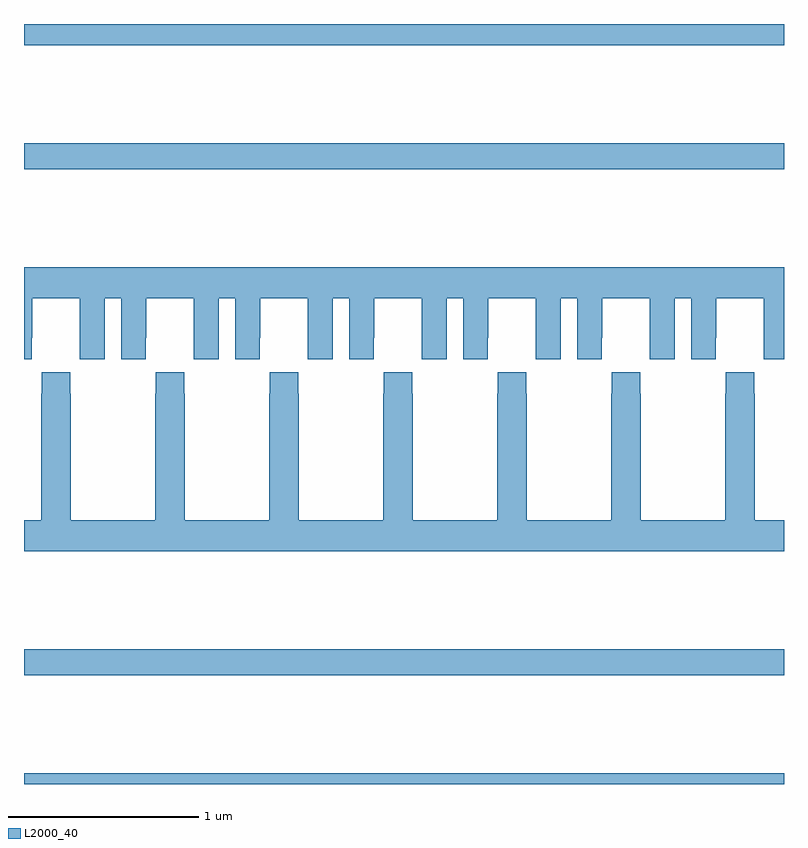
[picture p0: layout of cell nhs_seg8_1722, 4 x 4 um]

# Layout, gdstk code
import gdstk
lib = gdstk.Library(unit=1e-6, precision=1e-09)
def R(c, l, rs):  # rectangles x0, y0, x1, y1
    for r in rs: c.add(gdstk.rectangle(r[:2], r[2:], *l))
def P(c, l, *ps):  # polygons
    for p in ps: c.add(gdstk.Polygon(p, *l))
L2000_40 = (2000, 40)

nhs_seg8_1722 = lib.new_cell('nhs_seg8_1722')
R(nhs_seg8_1722, L2000_40, [(219,1157.9,223,1157.956), (219,1158.472,223,1158.608), (219,1161.136,223,1161.272), (219,1161.788,223,1161.9)])
P(nhs_seg8_1722, L2000_40, [(219,1160.136),(219.042,1160.136),(219.042,1160.248),(219.043,1160.248),(219.043,1160.456),(219.293,1160.456),(219.293,1160.248),(219.294,1160.248),(219.294,1160.136),(219.424,1160.136),(219.424,1160.456),(219.512,1160.456),(219.512,1160.136),(219.642,1160.136),(219.642,1160.248),(219.643,1160.248),(219.643,1160.456),(219.893,1160.456),(219.893,1160.248),(219.894,1160.248),(219.894,1160.136),(220.024,1160.136),(220.024,1160.456),(220.112,1160.456),(220.112,1160.136),(220.242,1160.136),(220.242,1160.248),(220.243,1160.248),(220.243,1160.456),(220.493,1160.456),(220.493,1160.248),(220.494,1160.248),(220.494,1160.136),(220.624,1160.136),(220.624,1160.456),(220.712,1160.456),(220.712,1160.136),(220.842,1160.136),(220.842,1160.248),(220.843,1160.248),(220.843,1160.456),(221.093,1160.456),(221.093,1160.248),(221.094,1160.248),(221.094,1160.136),(221.224,1160.136),(221.224,1160.456),(221.312,1160.456),(221.312,1160.136),(221.442,1160.136),(221.442,1160.248),(221.443,1160.248),(221.443,1160.456),(221.693,1160.456),(221.693,1160.248),(221.694,1160.248),(221.694,1160.136),(221.824,1160.136),(221.824,1160.456),(221.912,1160.456),(221.912,1160.136),(222.042,1160.136),(222.042,1160.248),(222.043,1160.248),(222.043,1160.456),(222.293,1160.456),(222.293,1160.248),(222.294,1160.248),(222.294,1160.136),(222.424,1160.136),(222.424,1160.456),(222.512,1160.456),(222.512,1160.136),(222.642,1160.136),(222.642,1160.248),(222.643,1160.248),(222.643,1160.456),(222.893,1160.456),(222.893,1160.248),(222.894,1160.248),(222.894,1160.136),(223,1160.136),(223,1160.62),(219,1160.62)],
  [(223,1159.288),(222.846,1159.288),(222.846,1159.955),(222.843,1159.955),(222.843,1160.068),(222.693,1160.068),(222.693,1159.955),(222.691,1159.955),(222.691,1159.288),(222.246,1159.288),(222.246,1159.955),(222.243,1159.955),(222.243,1160.068),(222.093,1160.068),(222.093,1159.955),(222.091,1159.955),(222.091,1159.288),(221.646,1159.288),(221.646,1159.955),(221.643,1159.955),(221.643,1160.068),(221.493,1160.068),(221.493,1159.955),(221.491,1159.955),(221.491,1159.288),(221.046,1159.288),(221.046,1159.955),(221.043,1159.955),(221.043,1160.068),(220.893,1160.068),(220.893,1159.955),(220.891,1159.955),(220.891,1159.288),(220.446,1159.288),(220.446,1159.955),(220.443,1159.955),(220.443,1160.068),(220.293,1160.068),(220.293,1159.955),(220.291,1159.955),(220.291,1159.288),(219.846,1159.288),(219.846,1159.955),(219.843,1159.955),(219.843,1160.068),(219.693,1160.068),(219.693,1159.955),(219.691,1159.955),(219.691,1159.288),(219.246,1159.288),(219.246,1159.955),(219.243,1159.955),(219.243,1160.068),(219.093,1160.068),(219.093,1159.955),(219.091,1159.955),(219.091,1159.288),(219,1159.288),(219,1159.124),(223,1159.124)])

lib.write_gds('nhs_seg8_1722.gds')
